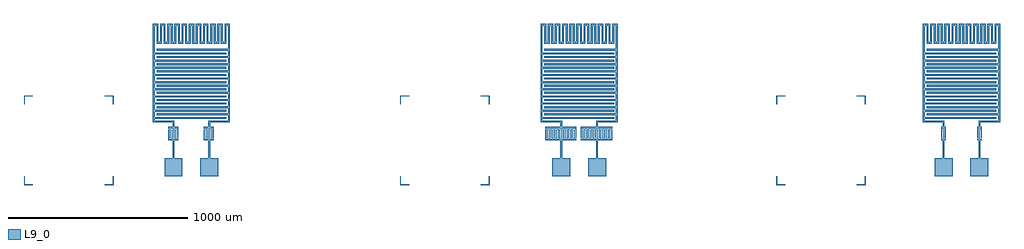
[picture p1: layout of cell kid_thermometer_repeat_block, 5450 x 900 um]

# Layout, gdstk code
from math import pi, radians
import gdstk
lib = gdstk.Library(unit=1e-6, precision=1e-09)
def R(c, l, rs):  # rectangles x0, y0, x1, y1
    for r in rs: c.add(gdstk.rectangle(r[:2], r[2:], *l))
def P(c, l, *ps):  # polygons
    for p in ps: c.add(gdstk.Polygon(p, *l))
L9_0 = (9, 0)

inductor_meander_for_sin = lib.new_cell('inductor_meander_for_single_die')
R(inductor_meander_for_sin, L9_0, [(-65,740,-55,840), (-45,740,-35,840), (-35,740,-25,750), (-65,840,-35,850)])

capacitor_finger_pair_fo = lib.new_cell('capacitor_finger_pair_for_single')
R(capacitor_finger_pair_fo, L9_0, [(-55,320,345,330), (-45,340,355,350)])

kid_thermometer_base = lib.new_cell('kid_thermometer_base')
R(kid_thermometer_base, L9_0, [(45,275,55,300), (245,275,255,300), (-65,300,55,310), (245,300,365,310), (-65,310,-55,740), (355,310,365,730), (355,730,365,740), (335,740,345,840), (355,740,365,840), (335,840,365,850)])
P(kid_thermometer_base, L9_0, [(200,100),(245,100),(245,200),(255,200),(255,100),(300,100),(300,0),(200,0)],
  [(0,100),(45,100),(45,200),(55,200),(55,100),(100,100),(100,0),(0,0)])
r = gdstk.Reference(inductor_meander_for_sin, (0,0)); r.repetition = gdstk.Repetition(10, 1, v1=(40,0), v2=(0,110)); kid_thermometer_base.add(r)
r = gdstk.Reference(capacitor_finger_pair_fo, (0,0)); r.repetition = gdstk.Repetition(1, 10, v1=(410,0), v2=(0,40)); kid_thermometer_base.add(r)

kid_thermometer_v3 = lib.new_cell('kid_thermometer_v3')
P(kid_thermometer_v3, L9_0, [(237.5,275),(262.5,275),(262.5,215),(257.5,215),(257.5,265),(242.5,265),(242.5,215),(237.5,215)],
  [(237.5,210),(247.5,210),(247.5,260),(252.5,260),(252.5,210),(262.5,210),(262.5,200),(237.5,200)],
  [(37.5,275),(62.5,275),(62.5,215),(57.5,215),(57.5,265),(42.5,265),(42.5,215),(37.5,215)],
  [(37.5,210),(47.5,210),(47.5,260),(52.5,260),(52.5,210),(62.5,210),(62.5,200),(37.5,200)])
kid_thermometer_v3.add(gdstk.Reference(kid_thermometer_base, (0,0)))

kid_thermometer_v2 = lib.new_cell('kid_thermometer_v2')
P(kid_thermometer_v2, L9_0, [(334,265),(324,265),(324,215),(319,215),(319,265),(304,265),(304,215),(299,215),(299,265),(284,265),(284,215),(279,215),(279,265),(264,265),(264,215),(259,215),(259,265),(244,265),(244,215),(239,215),(239,265),(224,265),(224,215),(219,215),(219,265),(204,265),(204,215),(199,215),(199,265),(184,265),(184,215),(179,215),(179,265),(164,265),(164,215),(159,215),(159,275),(334,275)],
  [(334,200),(159,200),(159,210),(169,210),(169,260),(174,260),(174,210),(189,210),(189,260),(194,260),(194,210),(209,210),(209,260),(214,260),(214,210),(229,210),(229,260),(234,260),(234,210),(249,210),(249,260),(254,260),(254,210),(269,210),(269,260),(274,260),(274,210),(289,210),(289,260),(294,260),(294,210),(309,210),(309,260),(314,260),(314,210),(329,210),(329,260),(334,260)],
  [(-40,265),(-30,265),(-30,215),(-25,215),(-25,265),(-10,265),(-10,215),(-5,215),(-5,265),(10,265),(10,215),(15,215),(15,265),(30,265),(30,215),(35,215),(35,265),(50,265),(50,215),(55,215),(55,265),(70,265),(70,215),(75,215),(75,265),(90,265),(90,215),(95,215),(95,265),(110,265),(110,215),(115,215),(115,265),(130,265),(130,215),(135,215),(135,275),(-40,275)],
  [(-40,200),(135,200),(135,210),(125,210),(125,260),(120,260),(120,210),(105,210),(105,260),(100,260),(100,210),(85,210),(85,260),(80,260),(80,210),(65,210),(65,260),(60,260),(60,210),(45,210),(45,260),(40,260),(40,210),(25,210),(25,260),(20,260),(20,210),(5,210),(5,260),(0,260),(0,210),(-15,210),(-15,260),(-20,260),(-20,210),(-35,210),(-35,260),(-40,260)])
kid_thermometer_v2.add(gdstk.Reference(kid_thermometer_base, (0,0)))

corner_mark = lib.new_cell('corner_mark')
R(corner_mark, L9_0, [(0,0,5,50), (5,0,50,5)])

corner_marks = lib.new_cell('corner_marks')
corner_marks.add(gdstk.Reference(corner_mark, (0,500), x_reflection=True))
corner_marks.add(gdstk.Reference(corner_mark, (0,0)))
corner_marks.add(gdstk.Reference(corner_mark, (500,0), rotation=pi, x_reflection=True))
corner_marks.add(gdstk.Reference(corner_mark, (500,500), rotation=pi))

kid_thermometer_v1 = lib.new_cell('kid_thermometer_v1')
P(kid_thermometer_v1, L9_0, [(20,275),(75,275),(75,215),(70,215),(70,265),(55,265),(55,215),(50,215),(50,265),(35,265),(35,215),(30,215),(30,265),(20,265)],
  [(220,275),(275,275),(275,215),(270,215),(270,265),(255,265),(255,215),(250,215),(250,265),(235,265),(235,215),(230,215),(230,265),(220,265)],
  [(220,260),(225,260),(225,210),(240,210),(240,260),(245,260),(245,210),(260,210),(260,260),(265,260),(265,210),(275,210),(275,200),(220,200)],
  [(20,260),(25,260),(25,210),(40,210),(40,260),(45,260),(45,210),(60,210),(60,260),(65,260),(65,210),(75,210),(75,200),(20,200)])
kid_thermometer_v1.add(gdstk.Reference(kid_thermometer_base, (0,0)))

kid_thermometer_repeat_b = lib.new_cell('kid_thermometer_repeat_block')
kid_thermometer_repeat_b.add(gdstk.Reference(kid_thermometer_v3, (5085,50)))
kid_thermometer_repeat_b.add(gdstk.Reference(kid_thermometer_v2, (2950,50)))
r = gdstk.Reference(corner_marks, (0,0)); r.repetition = gdstk.Repetition(3, 1, v1=(2100,0), v2=(0,2000)); kid_thermometer_repeat_b.add(r)
kid_thermometer_repeat_b.add(gdstk.Reference(kid_thermometer_v1, (785,50)))

lib.write_gds('kid_thermometer_repeat_block.gds')
